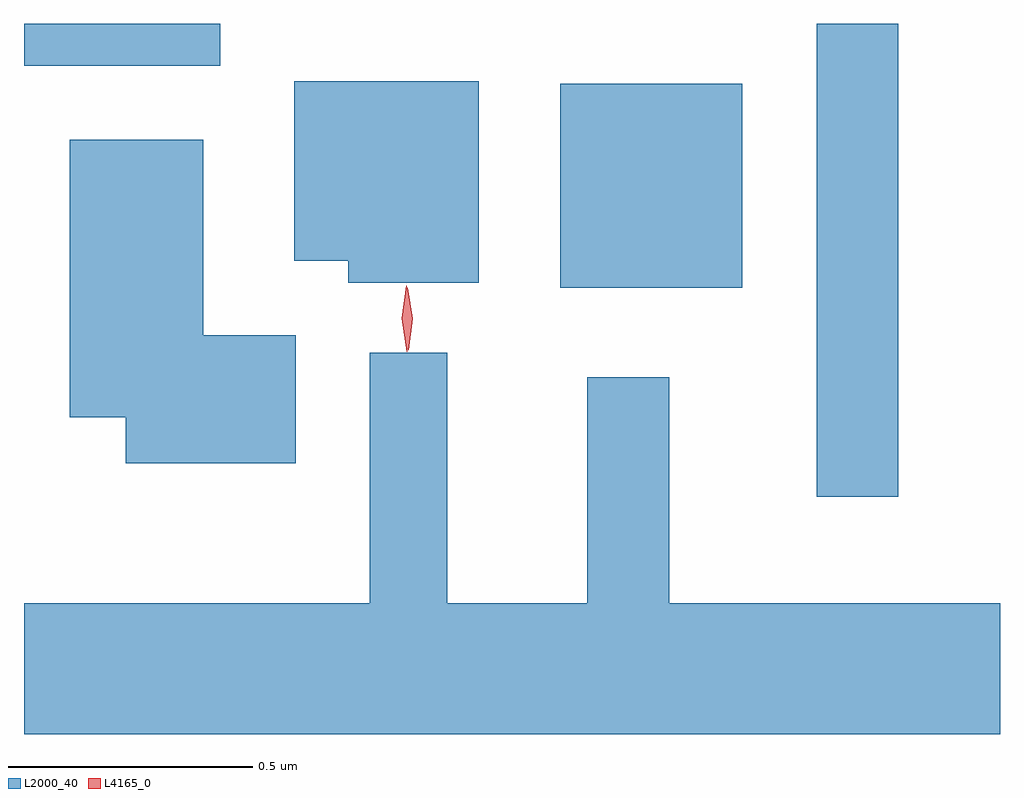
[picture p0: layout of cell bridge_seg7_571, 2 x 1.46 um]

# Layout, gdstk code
import gdstk
lib = gdstk.Library(unit=1e-6, precision=1e-09)
def R(c, l, rs):  # rectangles x0, y0, x1, y1
    for r in rs: c.add(gdstk.rectangle(r[:2], r[2:], *l))
def P(c, l, *ps):  # polygons
    for p in ps: c.add(gdstk.Polygon(p, *l))
L2000_40 = (2000, 40)
L4165_0 = (4165, 0)

bridge_seg7_571 = lib.new_cell('bridge_seg7_571')
R(bridge_seg7_571, L2000_40, [(979.501,1739.223,979.669,1740.192), (978.976,1739.651,979.349,1740.069), (977.877,1740.106,978.279,1740.192)])
P(bridge_seg7_571, L2000_40, [(978.809,1740.074),(978.431,1740.074),(978.431,1739.706),(978.541,1739.706),(978.541,1739.661),(978.809,1739.661)],
  [(978.434,1739.554),(978.244,1739.554),(978.244,1739.954),(977.971,1739.954),(977.971,1739.386),(978.086,1739.386),(978.086,1739.291),(978.434,1739.291)],
  [(979.877,1739.004),(979.199,1739.004),(979.199,1739.468),(979.031,1739.468),(979.031,1739.004),(978.744,1739.004),(978.744,1739.518),(978.586,1739.518),(978.586,1739.004),(977.877,1739.004),(977.877,1738.736),(979.877,1738.736)])
P(bridge_seg7_571, L4165_0, [(978.661,1739.52),(978.651,1739.588),(978.66,1739.655),(978.66,1739.655),(978.661,1739.655),(978.671,1739.588),(978.662,1739.52),(978.662,1739.52)],
  [(978.664,1739.523),(978.664,1739.524),(978.654,1739.587),(978.662,1739.651),(978.663,1739.651),(978.663,1739.651),(978.674,1739.587),(978.665,1739.524)])

lib.write_gds('bridge_seg7_571.gds')
